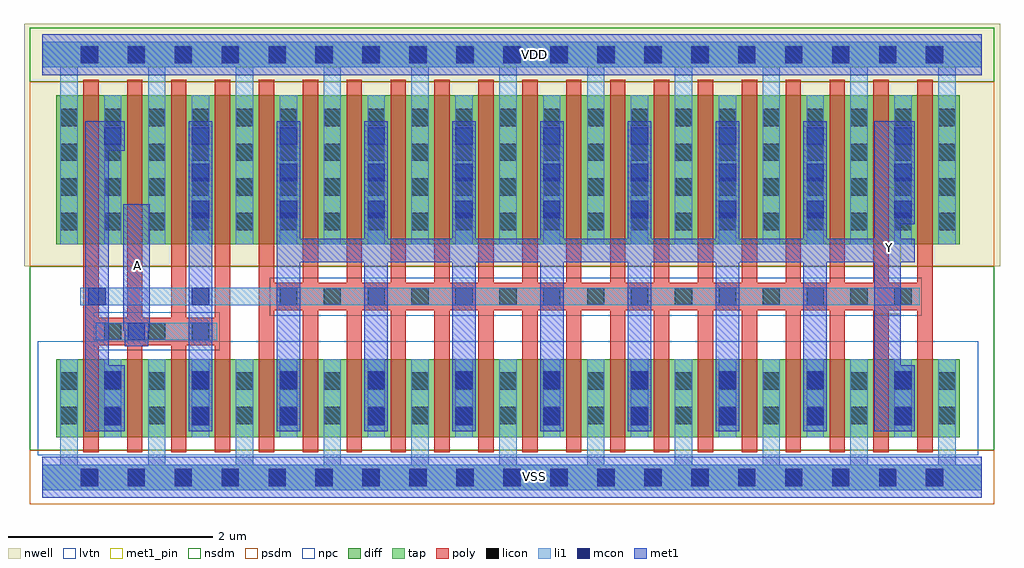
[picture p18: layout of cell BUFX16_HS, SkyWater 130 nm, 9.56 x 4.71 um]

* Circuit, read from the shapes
.subckt BUFX16_HS A VDD VSS Y
XM1 n1 A VSS VSS sky130_fd_pr__nfet_01v8_lvt w=0.76 l=0.15 m=4
XM2 Y n1 VSS VSS sky130_fd_pr__nfet_01v8_lvt w=0.76 l=0.15 m=16
XM3 n1 A VDD VDD sky130_fd_pr__pfet_01v8 w=1.46 l=0.15 m=4
XM4 Y n1 VDD VDD sky130_fd_pr__pfet_01v8 w=1.46 l=0.15 m=16
.ends

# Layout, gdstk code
from math import pi, radians
import gdstk
lib = gdstk.Library(unit=1e-6, precision=1e-09)
def R(c, l, rs):  # rectangles x0, y0, x1, y1
    for r in rs: c.add(gdstk.rectangle(r[:2], r[2:], *l))
def A(c, l, x, y, w, h, nx, ny, dx, dy):  # array of equal rectangles
    R(c, l, [(x+i*dx, y+j*dy, x+i*dx+w, y+j*dy+h) for i in range(nx) for j in range(ny)])
nwell = (64, 20)
diff = (65, 20)
tap = (65, 44)
poly = (66, 20)
licon = (66, 44)
li1 = (67, 20)
mcon = (67, 44)
met1_pin = (68, 16)
met1 = (68, 20)
nsdm = (93, 44)
psdm = (94, 20)
npc = (95, 20)
lvtn = (125, 44)

l1m1_c_cdns_750721774072 = lib.new_cell('L1M1_C_CDNS_750721774072')
R(l1m1_c_cdns_750721774072, li1, [(-0.085,-0.165,0.085,0.165)])
R(l1m1_c_cdns_750721774072, mcon, [(-0.085,-0.085,0.085,0.085)])
R(l1m1_c_cdns_750721774072, met1, [(-0.115,-0.145,0.115,0.145)])

l1m1_c_cdns_750721774074 = lib.new_cell('L1M1_C_CDNS_750721774074')
R(l1m1_c_cdns_750721774074, li1, [(-0.165,-0.085,0.165,0.085)])
R(l1m1_c_cdns_750721774074, mcon, [(-0.085,-0.085,0.085,0.085)])
R(l1m1_c_cdns_750721774074, met1, [(-0.115,-0.145,0.115,0.145)])

l1m1_c_cdns_750721774076 = lib.new_cell('L1M1_C_CDNS_750721774076')
R(l1m1_c_cdns_750721774076, li1, [(-0.085,-0.345,0.085,0.345)])
R(l1m1_c_cdns_750721774076, mcon, [(-0.085,-0.265,0.085,-0.095), (-0.085,0.095,0.085,0.265)])
R(l1m1_c_cdns_750721774076, met1, [(-0.115,-0.325,0.115,0.325)])

l1m1_c_cdns_750721774077 = lib.new_cell('L1M1_C_CDNS_750721774077')
R(l1m1_c_cdns_750721774077, li1, [(-0.085,-0.525,0.085,0.525)])
A(l1m1_c_cdns_750721774077, mcon, -0.085, -0.445, 0.17, 0.17, 1, 3, 0, 0.36)
R(l1m1_c_cdns_750721774077, met1, [(-0.115,-0.505,0.115,0.505)])

pyl1con_c_cdns_750721774 = lib.new_cell('PYL1CON_C_CDNS_750721774073')
R(pyl1con_c_cdns_750721774, poly, [(-0.135,-0.165,0.135,0.165)])
R(pyl1con_c_cdns_750721774, licon, [(-0.085,-0.085,0.085,0.085)])
R(pyl1con_c_cdns_750721774, npc, [(-0.185,-0.185,0.185,0.185)])

bufx16_hs = lib.new_cell('BUFX16_HS')
R(bufx16_hs, nwell, [(-0.18,2.07,9.38,4.305), (-0.045,2.105,2.075,3.925), (1.715,2.105,9.165,3.925), (-0.18,3.875,9.38,4.445)])
A(bufx16_hs, diff, 0.4, 0.395, 0.15, 0.76, 20, 1, 0.43, 0)
A(bufx16_hs, diff, 0.55, 0.395, 0.28, 0.76, 3, 1, 0.43, 0)
A(bufx16_hs, diff, 2.27, 0.395, 0.28, 0.76, 15, 1, 0.43, 0)
A(bufx16_hs, diff, 0.4, 2.285, 0.15, 1.46, 20, 1, 0.43, 0)
A(bufx16_hs, diff, 0.55, 2.285, 0.28, 1.46, 3, 1, 0.43, 0)
A(bufx16_hs, diff, 2.27, 2.285, 0.28, 1.46, 15, 1, 0.43, 0)
R(bufx16_hs, diff, [(0.135,0.395,0.4,1.155), (1.84,0.395,1.895,1.155), (1.895,0.395,2.12,1.155), (8.72,0.395,8.985,1.155), (0.135,2.285,0.4,3.745), (1.84,2.285,1.895,3.745), (1.895,2.285,2.12,3.745), (8.72,2.285,8.985,3.745)])
A(bufx16_hs, poly, 0.4, 0.245, 0.15, 0.055, 20, 2, 0.43, 1.005)
A(bufx16_hs, poly, 0.4, 0.3, 0.15, 0.095, 20, 2, 0.43, 0.855)
A(bufx16_hs, poly, 0.4, 0.395, 0.15, 0.76, 20, 1, 0.43, 0)
A(bufx16_hs, poly, 0.4, 2.135, 0.15, 0.055, 20, 2, 0.43, 1.705)
A(bufx16_hs, poly, 0.4, 2.19, 0.15, 0.095, 20, 2, 0.43, 1.555)
A(bufx16_hs, poly, 0.4, 2.285, 0.15, 1.46, 20, 1, 0.43, 0)
A(bufx16_hs, licon, 0.375, -0.085, 0.17, 0.17, 19, 2, 0.46, 4.14)
A(bufx16_hs, licon, 0.175, 0.52, 0.17, 0.17, 21, 2, 0.43, 0.34)
A(bufx16_hs, licon, 0.175, 2.42, 0.17, 0.17, 21, 4, 0.43, 0.34)
A(bufx16_hs, li1, 0.175, 0.395, 0.17, 0.76, 21, 1, 0.43, 0)
A(bufx16_hs, li1, 0.175, 2.285, 0.17, 1.46, 21, 1, 0.43, 0)
A(bufx16_hs, mcon, 0.375, -0.085, 0.17, 0.17, 19, 2, 0.46, 4.14)
R(bufx16_hs, met1_pin, [(0.79,1.435,1.05,2.675), (8.15,1.6,8.41,2.84)])
R(bufx16_hs, nsdm, [(-0.125,0.265,9.325,2.07), (-0.005,0.265,1.905,1.285), (1.885,0.265,9.125,1.285), (-0.125,3.875,9.325,4.405), (-0.125,3.93,9.325,4.35)])
R(bufx16_hs, psdm, [(-0.125,-0.265,9.325,0.265), (-0.125,-0.21,9.325,0.21), (-0.125,2.07,9.325,3.875), (-0.005,2.155,1.905,3.875), (1.885,2.155,9.125,3.875)])
R(bufx16_hs, npc, [(0.505,1.245,1.735,1.615), (2.225,1.585,8.615,1.955)])
R(bufx16_hs, lvtn, [(-0.045,0.215,2.075,1.335), (1.715,0.215,9.165,1.335)])
bufx16_hs.add(gdstk.FlexPath([(8.645,1.305),(8.645,1.35)], 0.15, ends="flush", simple_path=True, layer=66, datatype=20))  # poly
bufx16_hs.add(gdstk.FlexPath([(8.215,1.305),(8.215,1.35)], 0.15, ends="flush", simple_path=True, layer=66, datatype=20))  # poly
bufx16_hs.add(gdstk.FlexPath([(7.785,1.305),(7.785,1.35)], 0.15, ends="flush", simple_path=True, layer=66, datatype=20))  # poly
bufx16_hs.add(gdstk.FlexPath([(7.355,1.305),(7.355,1.35)], 0.15, ends="flush", simple_path=True, layer=66, datatype=20))  # poly
bufx16_hs.add(gdstk.FlexPath([(6.925,1.305),(6.925,1.35)], 0.15, ends="flush", simple_path=True, layer=66, datatype=20))  # poly
bufx16_hs.add(gdstk.FlexPath([(6.495,1.305),(6.495,1.35)], 0.15, ends="flush", simple_path=True, layer=66, datatype=20))  # poly
bufx16_hs.add(gdstk.FlexPath([(6.065,1.305),(6.065,1.35)], 0.15, ends="flush", simple_path=True, layer=66, datatype=20))  # poly
bufx16_hs.add(gdstk.FlexPath([(5.205,1.305),(5.205,1.35)], 0.15, ends="flush", simple_path=True, layer=66, datatype=20))  # poly
bufx16_hs.add(gdstk.FlexPath([(5.635,1.305),(5.635,1.35)], 0.15, ends="flush", simple_path=True, layer=66, datatype=20))  # poly
bufx16_hs.add(gdstk.FlexPath([(4.775,1.305),(4.775,1.35)], 0.15, ends="flush", simple_path=True, layer=66, datatype=20))  # poly
bufx16_hs.add(gdstk.FlexPath([(4.345,1.305),(4.345,1.35)], 0.15, ends="flush", simple_path=True, layer=66, datatype=20))  # poly
bufx16_hs.add(gdstk.FlexPath([(3.915,1.305),(3.915,1.35)], 0.15, ends="flush", simple_path=True, layer=66, datatype=20))  # poly
bufx16_hs.add(gdstk.FlexPath([(3.485,1.305),(3.485,1.35)], 0.15, ends="flush", simple_path=True, layer=66, datatype=20))  # poly
bufx16_hs.add(gdstk.FlexPath([(3.055,1.305),(3.055,1.35)], 0.15, ends="flush", simple_path=True, layer=66, datatype=20))  # poly
bufx16_hs.add(gdstk.FlexPath([(2.625,1.305),(2.625,1.35)], 0.15, ends="flush", simple_path=True, layer=66, datatype=20))  # poly
bufx16_hs.add(gdstk.FlexPath([(0.905,1.305),(0.905,1.35)], 0.15, ends="flush", simple_path=True, layer=66, datatype=20))  # poly
bufx16_hs.add(gdstk.FlexPath([(1.335,1.305),(1.335,1.35)], 0.15, ends="flush", simple_path=True, layer=66, datatype=20))  # poly
bufx16_hs.add(gdstk.FlexPath([(1.765,1.305),(1.765,1.35)], 0.15, ends="flush", simple_path=True, layer=66, datatype=20))  # poly
bufx16_hs.add(gdstk.FlexPath([(2.195,1.305),(2.195,1.35)], 0.15, ends="flush", simple_path=True, layer=66, datatype=20))  # poly
bufx16_hs.add(gdstk.FlexPath([(0.475,1.305),(0.475,1.35)], 0.15, ends="flush", simple_path=True, layer=66, datatype=20))  # poly
bufx16_hs.add(gdstk.FlexPath([(8.645,1.35),(8.645,2.42)], 0.15, ends="flush", simple_path=True, layer=66, datatype=20))  # poly
bufx16_hs.add(gdstk.FlexPath([(8.215,1.35),(8.215,2.42)], 0.15, ends="flush", simple_path=True, layer=66, datatype=20))  # poly
bufx16_hs.add(gdstk.FlexPath([(7.785,1.35),(7.785,2.42)], 0.15, ends="flush", simple_path=True, layer=66, datatype=20))  # poly
bufx16_hs.add(gdstk.FlexPath([(7.355,1.35),(7.355,2.42)], 0.15, ends="flush", simple_path=True, layer=66, datatype=20))  # poly
bufx16_hs.add(gdstk.FlexPath([(6.925,1.35),(6.925,2.42)], 0.15, ends="flush", simple_path=True, layer=66, datatype=20))  # poly
bufx16_hs.add(gdstk.FlexPath([(6.495,1.35),(6.495,2.42)], 0.15, ends="flush", simple_path=True, layer=66, datatype=20))  # poly
bufx16_hs.add(gdstk.FlexPath([(0.475,1.35),(0.475,2.42)], 0.15, ends="flush", simple_path=True, layer=66, datatype=20))  # poly
bufx16_hs.add(gdstk.FlexPath([(1.335,1.35),(1.335,2.42)], 0.15, ends="flush", simple_path=True, layer=66, datatype=20))  # poly
bufx16_hs.add(gdstk.FlexPath([(2.195,1.35),(2.195,2.42)], 0.15, ends="flush", simple_path=True, layer=66, datatype=20))  # poly
bufx16_hs.add(gdstk.FlexPath([(3.055,1.35),(3.055,2.42)], 0.15, ends="flush", simple_path=True, layer=66, datatype=20))  # poly
bufx16_hs.add(gdstk.FlexPath([(3.915,1.35),(3.915,2.42)], 0.15, ends="flush", simple_path=True, layer=66, datatype=20))  # poly
bufx16_hs.add(gdstk.FlexPath([(4.775,1.35),(4.775,2.42)], 0.15, ends="flush", simple_path=True, layer=66, datatype=20))  # poly
bufx16_hs.add(gdstk.FlexPath([(5.635,1.35),(5.635,2.42)], 0.15, ends="flush", simple_path=True, layer=66, datatype=20))  # poly
bufx16_hs.add(gdstk.FlexPath([(0.905,1.35),(0.905,2.42)], 0.15, ends="flush", simple_path=True, layer=66, datatype=20))  # poly
bufx16_hs.add(gdstk.FlexPath([(1.765,1.35),(1.765,2.42)], 0.15, ends="flush", simple_path=True, layer=66, datatype=20))  # poly
bufx16_hs.add(gdstk.FlexPath([(2.625,1.35),(2.625,2.42)], 0.15, ends="flush", simple_path=True, layer=66, datatype=20))  # poly
bufx16_hs.add(gdstk.FlexPath([(3.485,1.35),(3.485,2.42)], 0.15, ends="flush", simple_path=True, layer=66, datatype=20))  # poly
bufx16_hs.add(gdstk.FlexPath([(4.345,1.35),(4.345,2.42)], 0.15, ends="flush", simple_path=True, layer=66, datatype=20))  # poly
bufx16_hs.add(gdstk.FlexPath([(5.205,1.35),(5.205,2.42)], 0.15, ends="flush", simple_path=True, layer=66, datatype=20))  # poly
bufx16_hs.add(gdstk.FlexPath([(6.065,1.35),(6.065,2.42)], 0.15, ends="flush", simple_path=True, layer=66, datatype=20))  # poly
bufx16_hs.add(gdstk.FlexPath([(0,0),(9.2,0)], 0.25, ends="flush", simple_path=True, layer=67, datatype=20))  # li1
bufx16_hs.add(gdstk.FlexPath([(0,4.14),(9.2,4.14)], 0.25, ends="flush", simple_path=True, layer=67, datatype=20))  # li1
bufx16_hs.add(gdstk.FlexPath([(6.28,-0.125),(6.28,0.59)], 0.17, ends="flush", simple_path=True, layer=67, datatype=20))  # li1
bufx16_hs.add(gdstk.FlexPath([(5.42,-0.125),(5.42,0.59)], 0.17, ends="flush", simple_path=True, layer=67, datatype=20))  # li1
bufx16_hs.add(gdstk.FlexPath([(4.56,-0.125),(4.56,0.59)], 0.17, ends="flush", simple_path=True, layer=67, datatype=20))  # li1
bufx16_hs.add(gdstk.FlexPath([(3.7,-0.125),(3.7,0.59)], 0.17, ends="flush", simple_path=True, layer=67, datatype=20))  # li1
bufx16_hs.add(gdstk.FlexPath([(2.84,-0.125),(2.84,0.59)], 0.17, ends="flush", simple_path=True, layer=67, datatype=20))  # li1
bufx16_hs.add(gdstk.FlexPath([(1.98,-0.125),(1.98,0.59)], 0.17, ends="flush", simple_path=True, layer=67, datatype=20))  # li1
bufx16_hs.add(gdstk.FlexPath([(1.12,-0.125),(1.12,0.59)], 0.17, ends="flush", simple_path=True, layer=67, datatype=20))  # li1
bufx16_hs.add(gdstk.FlexPath([(0.26,-0.125),(0.26,0.59)], 0.17, ends="flush", simple_path=True, layer=67, datatype=20))  # li1
bufx16_hs.add(gdstk.FlexPath([(8.86,3.55),(8.86,4.265)], 0.17, ends="flush", simple_path=True, layer=67, datatype=20))  # li1
bufx16_hs.add(gdstk.FlexPath([(8,3.55),(8,4.265)], 0.17, ends="flush", simple_path=True, layer=67, datatype=20))  # li1
bufx16_hs.add(gdstk.FlexPath([(7.14,3.55),(7.14,4.265)], 0.17, ends="flush", simple_path=True, layer=67, datatype=20))  # li1
bufx16_hs.add(gdstk.FlexPath([(6.28,3.55),(6.28,4.265)], 0.17, ends="flush", simple_path=True, layer=67, datatype=20))  # li1
bufx16_hs.add(gdstk.FlexPath([(5.42,3.55),(5.42,4.265)], 0.17, ends="flush", simple_path=True, layer=67, datatype=20))  # li1
bufx16_hs.add(gdstk.FlexPath([(4.56,3.55),(4.56,4.265)], 0.17, ends="flush", simple_path=True, layer=67, datatype=20))  # li1
bufx16_hs.add(gdstk.FlexPath([(3.7,3.55),(3.7,4.265)], 0.17, ends="flush", simple_path=True, layer=67, datatype=20))  # li1
bufx16_hs.add(gdstk.FlexPath([(2.84,3.55),(2.84,4.265)], 0.17, ends="flush", simple_path=True, layer=67, datatype=20))  # li1
bufx16_hs.add(gdstk.FlexPath([(1.98,3.55),(1.98,4.265)], 0.17, ends="flush", simple_path=True, layer=67, datatype=20))  # li1
bufx16_hs.add(gdstk.FlexPath([(1.12,3.55),(1.12,4.265)], 0.17, ends="flush", simple_path=True, layer=67, datatype=20))  # li1
bufx16_hs.add(gdstk.FlexPath([(0.26,3.55),(0.26,4.265)], 0.17, ends="flush", simple_path=True, layer=67, datatype=20))  # li1
bufx16_hs.add(gdstk.FlexPath([(7.14,-0.125),(7.14,0.59)], 0.17, ends="flush", simple_path=True, layer=67, datatype=20))  # li1
bufx16_hs.add(gdstk.FlexPath([(8,-0.125),(8,0.59)], 0.17, ends="flush", simple_path=True, layer=67, datatype=20))  # li1
bufx16_hs.add(gdstk.FlexPath([(0.525,1.43),(1.715,1.43)], 0.17, ends="flush", simple_path=True, layer=67, datatype=20))  # li1
bufx16_hs.add(gdstk.FlexPath([(8.86,-0.125),(8.86,0.59)], 0.17, ends="flush", simple_path=True, layer=67, datatype=20))  # li1
bufx16_hs.add(gdstk.FlexPath([(0.525,1.77),(8.595,1.77)], 0.17, ends="flush", simple_path=True, layer=67, datatype=20))  # li1
bufx16_hs.add(gdstk.FlexPath([(0,4.14),(9.2,4.14)], 0.4, ends="flush", simple_path=True, layer=68, datatype=20))  # met1
bufx16_hs.add(gdstk.FlexPath([(0,0),(9.2,0)], 0.4, ends="flush", simple_path=True, layer=68, datatype=20))  # met1
bufx16_hs.add(gdstk.FlexPath([(8.28,3.49),(8.28,0.45)], 0.26, ends="flush", simple_path=True, layer=68, datatype=20))  # met1
bufx16_hs.add(gdstk.FlexPath([(0.92,2.675),(0.92,1.435)], 0.26, ends="flush", simple_path=True, layer=68, datatype=20))  # met1
bufx16_hs.add(gdstk.FlexPath([(3.27,0.645),(3.27,3.49)], 0.23, ends="flush", simple_path=True, layer=68, datatype=20))  # met1
bufx16_hs.add(gdstk.FlexPath([(6.71,0.645),(6.71,3.49)], 0.23, ends="flush", simple_path=True, layer=68, datatype=20))  # met1
bufx16_hs.add(gdstk.FlexPath([(1.55,0.645),(1.55,3.49)], 0.23, ends="flush", simple_path=True, layer=68, datatype=20))  # met1
bufx16_hs.add(gdstk.FlexPath([(0.535,0.45),(0.535,3.49)], 0.23, ends="flush", simple_path=True, layer=68, datatype=20))  # met1
bufx16_hs.add(gdstk.FlexPath([(4.99,0.645),(4.99,3.49)], 0.23, ends="flush", simple_path=True, layer=68, datatype=20))  # met1
bufx16_hs.add(gdstk.FlexPath([(5.85,0.645),(5.85,3.49)], 0.23, ends="flush", simple_path=True, layer=68, datatype=20))  # met1
bufx16_hs.add(gdstk.FlexPath([(2.295,2.22),(8.545,2.22)], 0.23, ends="flush", simple_path=True, layer=68, datatype=20))  # met1
bufx16_hs.add(gdstk.FlexPath([(4.13,0.645),(4.13,3.49)], 0.23, ends="flush", simple_path=True, layer=68, datatype=20))  # met1
bufx16_hs.add(gdstk.FlexPath([(2.41,0.645),(2.41,3.49)], 0.23, ends="flush", simple_path=True, layer=68, datatype=20))  # met1
bufx16_hs.add(gdstk.FlexPath([(7.57,0.645),(7.57,3.49)], 0.23, ends="flush", simple_path=True, layer=68, datatype=20))  # met1
bufx16_hs.add(gdstk.FlexPath([(0,4.14),(9.2,4.14)], 0.4, ends="flush", simple_path=True, layer=68, datatype=16))  # met1_pin
bufx16_hs.add(gdstk.FlexPath([(0,0),(9.2,0)], 0.4, ends="flush", simple_path=True, layer=68, datatype=16))  # met1_pin
bufx16_hs.add(gdstk.FlexPath([(0,4.14),(9.2,4.14)], 0.25, ends="flush", simple_path=True, layer=65, datatype=44))  # tap
bufx16_hs.add(gdstk.FlexPath([(0,0),(9.2,0)], 0.25, ends="flush", simple_path=True, layer=65, datatype=44))  # tap
bufx16_hs.add(gdstk.Reference(l1m1_c_cdns_750721774072, (0.69,3.345)))
bufx16_hs.add(gdstk.Reference(l1m1_c_cdns_750721774074, (0.92,1.43)))
bufx16_hs.add(gdstk.Reference(l1m1_c_cdns_750721774074, (0.535,1.77)))
bufx16_hs.add(gdstk.Reference(l1m1_c_cdns_750721774074, (1.55,1.77)))
bufx16_hs.add(gdstk.Reference(l1m1_c_cdns_750721774076, (7.57,0.775)))
bufx16_hs.add(gdstk.Reference(l1m1_c_cdns_750721774076, (8.43,0.775)))
bufx16_hs.add(gdstk.Reference(l1m1_c_cdns_750721774076, (3.27,0.775)))
bufx16_hs.add(gdstk.Reference(l1m1_c_cdns_750721774076, (2.41,0.775)))
bufx16_hs.add(gdstk.Reference(l1m1_c_cdns_750721774076, (6.71,0.775)))
bufx16_hs.add(gdstk.Reference(l1m1_c_cdns_750721774076, (5.85,0.775)))
bufx16_hs.add(gdstk.Reference(l1m1_c_cdns_750721774076, (1.55,0.775)))
bufx16_hs.add(gdstk.Reference(l1m1_c_cdns_750721774076, (4.13,0.775)))
bufx16_hs.add(gdstk.Reference(l1m1_c_cdns_750721774076, (4.99,0.775)))
bufx16_hs.add(gdstk.Reference(l1m1_c_cdns_750721774076, (0.69,0.775)))
bufx16_hs.add(gdstk.Reference(l1m1_c_cdns_750721774077, (4.13,2.985)))
bufx16_hs.add(gdstk.Reference(l1m1_c_cdns_750721774077, (4.99,2.985)))
bufx16_hs.add(gdstk.Reference(l1m1_c_cdns_750721774077, (8.43,2.985)))
bufx16_hs.add(gdstk.Reference(l1m1_c_cdns_750721774077, (3.27,2.985)))
bufx16_hs.add(gdstk.Reference(l1m1_c_cdns_750721774077, (2.41,2.985)))
bufx16_hs.add(gdstk.Reference(l1m1_c_cdns_750721774077, (7.57,2.985)))
bufx16_hs.add(gdstk.Reference(l1m1_c_cdns_750721774077, (5.85,2.985)))
bufx16_hs.add(gdstk.Reference(l1m1_c_cdns_750721774077, (1.55,2.985)))
bufx16_hs.add(gdstk.Reference(l1m1_c_cdns_750721774077, (6.71,2.985)))
bufx16_hs.add(gdstk.Reference(pyl1con_c_cdns_750721774, (0.69,1.43), rotation=3*pi/2, x_reflection=True))
bufx16_hs.add(gdstk.Reference(pyl1con_c_cdns_750721774, (1.12,1.43), rotation=3*pi/2, x_reflection=True))
bufx16_hs.add(gdstk.Reference(pyl1con_c_cdns_750721774, (2.41,1.77), rotation=3*pi/2, x_reflection=True))
bufx16_hs.add(gdstk.Reference(pyl1con_c_cdns_750721774, (2.84,1.77), rotation=3*pi/2, x_reflection=True))
bufx16_hs.add(gdstk.Reference(pyl1con_c_cdns_750721774, (3.27,1.77), rotation=3*pi/2, x_reflection=True))
bufx16_hs.add(gdstk.Reference(pyl1con_c_cdns_750721774, (3.7,1.77), rotation=3*pi/2, x_reflection=True))
bufx16_hs.add(gdstk.Reference(pyl1con_c_cdns_750721774, (4.13,1.77), rotation=3*pi/2, x_reflection=True))
bufx16_hs.add(gdstk.Reference(pyl1con_c_cdns_750721774, (4.56,1.77), rotation=3*pi/2, x_reflection=True))
bufx16_hs.add(gdstk.Reference(pyl1con_c_cdns_750721774, (4.99,1.77), rotation=3*pi/2, x_reflection=True))
bufx16_hs.add(gdstk.Reference(pyl1con_c_cdns_750721774, (5.42,1.77), rotation=3*pi/2, x_reflection=True))
bufx16_hs.add(gdstk.Reference(pyl1con_c_cdns_750721774, (5.85,1.77), rotation=3*pi/2, x_reflection=True))
bufx16_hs.add(gdstk.Reference(pyl1con_c_cdns_750721774, (6.28,1.77), rotation=3*pi/2, x_reflection=True))
bufx16_hs.add(gdstk.Reference(pyl1con_c_cdns_750721774, (6.71,1.77), rotation=3*pi/2, x_reflection=True))
bufx16_hs.add(gdstk.Reference(pyl1con_c_cdns_750721774, (7.57,1.77), rotation=3*pi/2, x_reflection=True))
bufx16_hs.add(gdstk.Reference(pyl1con_c_cdns_750721774, (8,1.77), rotation=3*pi/2, x_reflection=True))
bufx16_hs.add(gdstk.Reference(pyl1con_c_cdns_750721774, (8.43,1.77), rotation=3*pi/2, x_reflection=True))
bufx16_hs.add(gdstk.Reference(pyl1con_c_cdns_750721774, (7.14,1.77), rotation=3*pi/2, x_reflection=True))
bufx16_hs.add(gdstk.Reference(pyl1con_c_cdns_750721774, (1.55,1.43), rotation=3*pi/2, x_reflection=True))
bufx16_hs.add(gdstk.Label('VDD', (4.825,4.145), layer=68, texttype=5))
bufx16_hs.add(gdstk.Label('Y', (8.295,2.25), layer=68, texttype=5))
bufx16_hs.add(gdstk.Label('A', (0.935,2.075), layer=68, texttype=5))
bufx16_hs.add(gdstk.Label('VSS', (4.825,0.005), layer=68, texttype=5))

lib.write_gds('BUFX16_HS.gds')
